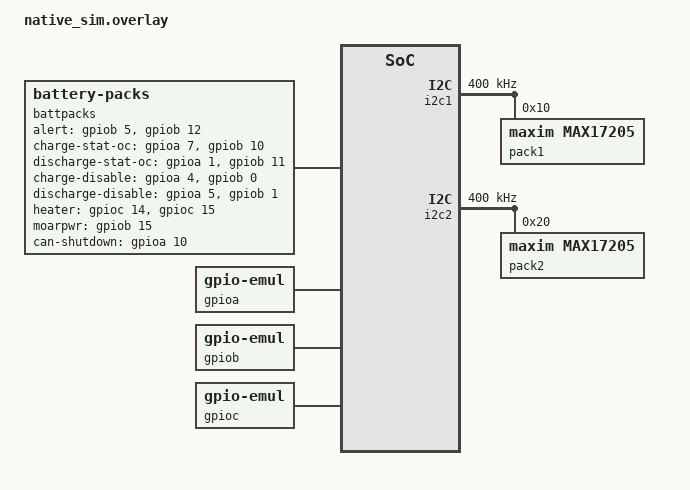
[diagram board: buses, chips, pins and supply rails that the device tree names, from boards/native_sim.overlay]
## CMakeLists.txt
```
# SPDX-License-Identifier: Apache-2.0
cmake_minimum_required(VERSION 3.20.0)

list(APPEND BOARD_ROOT ${CMAKE_CURRENT_SOURCE_DIR})
set(BOARD "oresat_mcxn947_battery_card/mcxn947/cpu0")

set(VERSION_MAJOR "1")
set(VERSION_MINOR "1")
set(PATCHLEVEL "0")
set(VERSION_TWEAK "0")
set(EXTRAVERSION "00000000")

find_package(Git QUIET REQUIRED)

execute_process(
    COMMAND "${GIT_EXECUTABLE}" rev-parse --short HEAD
    WORKING_DIRECTORY "${CMAKE_SOURCE_DIR}"
    RESULT_VARIABLE res
    OUTPUT_VARIABLE EXTRAVERSION
    ERROR_QUIET
    OUTPUT_STRIP_TRAILING_WHITESPACE)

set_property(GLOBAL APPEND
    PROPERTY CMAKE_CONFIGURE_DEPENDS
    "${CMAKE_SOURCE_DIR}/.git/index")

set(BOARD_FLASH_RUNNER "probe-rs")
set(BOARD_DEBUG_RUNNER "probe-rs")

#
# utilize settings to autogenerate a header file to adjust the build inside the C code
#
configure_file (
   "${CMAKE_SOURCE_DIR}/src/VERSION.in"
   "${CMAKE_SOURCE_DIR}/VERSION"
   )

find_package(Zephyr REQUIRED HINTS $ENV{ZEPHYR_BASE})

project(app_battery LANGUAGES C)

#execute_process(COMMAND bash -c "oresat-configs canopennode ${CMAKE_CURRENT_SOURCE_DIR}/od.yaml ${CMAKE_CURRENT_SOURCE_DIR}/../../common/od.yaml -d gen"

include_directories("${PROJECT_SOURCE_DIR}") # needed so c code can find this header

target_sources(app PRIVATE
  src/main.c
  src/batt.c
  src/can.c
  src/calib.c
  src/hist.c
  src/max17205_intf.c
  objdict/CO_OD.c
  drivers/sensor/maxim/max17205/max17205.c
)

target_sources_ifdef(CONFIG_BOARD_ORESAT_MCXN947_BATTERY_CARD app PRIVATE src/can_util.c)
target_sources_ifdef(CONFIG_BOARD_ORESAT_MCXN947_BATTERY_CARD app PRIVATE src/adc.c)

if(CONFIG_ARCH_POSIX)
  target_sources(app PRIVATE
    drivers/sensor/maxim/max17205/max17205_emul.c
)
endif()

zephyr_include_directories(objdict)
```

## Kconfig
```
menu "Zephyr"
source "Kconfig.zephyr"
endmenu

config ACCESS_FLASH_STM32
	default y
	bool
	depends on SOC_STM32F091XC
	select USE_STM32_HAL_FLASH
	select USE_STM32_HAL_FLASH_EX
	select USE_STM32_HAL_CAN

config VERBOSE_DEBUG
	bool "Enables even more debug info than DBG log level"
	help
	  Dump extra verbose information.

config ENABLE_NV_MEMORY_UPDATE_CODE
	bool "Enable writes to MAX17205 NV"
	depends on MAX17205
	help
	  Enable writes to the NV memory. Only 7 total writes can occur ever on
	  a given device.

config ENABLE_LEARN_COMPLETE
	bool "Enable handling end of capacity learning"
	depends on MAX17205
	help
	  Enable detection of 7th learn cycle and termination of charge.
	  Resets capacity to specified maximum for the cells.

config ENABLE_HEATERS
	bool "Enable battery pack heaters"
	depends on MAX17205
	help
	  Enable maintaining temperature of packs between -5C and +5C.
	  Requires boards version 3 or higher due to higher current
	  requirements.

config ENABLE_CHARGING_CONTROL
	bool "Enable charging control"
	depends on MAX17205
	help
	  Enable control of battery charging and discharging based on
	  cell voltage. No longer used but remains just in case.
	  This was disabled per discussion in Slack on April 25, 2021.

config HIST_STORE_PROMPT
	bool "Enable manual control over capacity history"
	depends on MAX17205
	help
	  Enable manual prompting of user whether to erase, store, or
	  ignore capacity history updates. Erasing means removing all
	  stored capacity history -- useful during calibration and
	  preflight prep.

choice EMUL_BATT_PROFILE
	prompt "Emulated battery profile"
	depends on I2C_EMUL
	default EMUL_BATT_OK

config EMUL_BATT_OK
	bool "Set stubbed battery emulator readings to OK profile"
	help
	  Set the readings loaded into the emulated MAX17205
	  registers to values that represent an OK status

config EMUL_BATT_DEAD
	bool "Set stubbed battery emulator readings to dead profile"
	help
	  Set the readings loaded into the emulated MAX17205
	  registers to values that represent a dead status

endchoice

if !SOC_STM32F091XC
	config MCUBOOT_ALLOWED
		bool "MCUboot allowed."
		default y
		select BOOTLOADER_MCUBOOT
		select MCUBOOT_GENERATE_UNSIGNED_IMAGE
		select FLASH
		select FLASH_MAP
		select STREAM_FLASH
		select IMG_MANAGER
		select MCUBOOT_GENERATE_CONFIRMED_IMAGE
		select CANOPENNODE_PROGRAM_DOWNLOAD
		help
		  Define helper symbol CONFIG_MCUBOOT_ALLOWED for all supported
		  architectures that have room for the required partitions in flash
		  and have those partitions defined in the device tree. This
		  eliminates the need for the user to either change prj.conf to
		  enable MCUBOOT or provide an EXTRA_CONF_FILE option to west that
		  names an overlay file.

	config CAN_ID_MUST_BE_SET
		bool "Do not contine if CAN node id not set."
		default y
		help
		  If enabled, do not perform normal functions if CAN node id
		  is not stored in settings.
endif

rsource "drivers/sensor/maxim/max17205/Kconfig"

module = APP_BATTERY
module-str = APP_BATTERY

source "subsys/logging/Kconfig.template.log_config"
```

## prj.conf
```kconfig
CONFIG_REBOOT=y
CONFIG_ASSERT=y
CONFIG_ASSERT_ON_ERRORS=y
CONFIG_EVENTS=y

CONFIG_HWINFO=y
CONFIG_GPIO=y
CONFIG_CONSOLE_SUBSYS=y
CONFIG_SENSOR=y
CONFIG_MAX17205=y

CONFIG_CAN=y
CONFIG_CANOPEN=y
CONFIG_CANOPENNODE=y
CONFIG_CANOPENNODE_SYNC_THREAD=n
CONFIG_CANOPENNODE_SDO_BUFFER_SIZE=889
CONFIG_CAN_DEFAULT_BITRATE=1000000
CONFIG_CAN_MCUX_FLEXCAN_MAX_FILTERS=12

# enable boot loader
CONFIG_MCUBOOT_ALLOWED=y

CONFIG_FCB=y
CONFIG_FLASH=y
CONFIG_FLASH_MAP=y

# changes for settings
CONFIG_SETTINGS=y
CONFIG_SETTINGS_RUNTIME=y
CONFIG_SETTINGS_FCB=y
CONFIG_MPU_ALLOW_FLASH_WRITE=y

CONFIG_BUILD_OUTPUT_HEX=y

CONFIG_ORESAT_COMMON_LIB=y

CONFIG_LOG=y
CONFIG_LOG_MODE_DEFERRED=y
CONFIG_LOG_BUFFER_SIZE=5120
CONFIG_LOG_PRINTK=y
CONFIG_LOG_TAG_MAX_LEN=8
CONFIG_LOG_DEFAULT_LEVEL=3

CONFIG_APP_BATTERY_LOG_LEVEL_INF=y

CONFIG_APPLICATION_INIT_PRIORITY=91

CONFIG_SYSTEM_WORKQUEUE_STACK_SIZE=1024
CONFIG_MAIN_STACK_SIZE=2048
CONFIG_ISR_STACK_SIZE=4096
CONFIG_HEAP_MEM_POOL_SIZE=256

CONFIG_ENABLE_HEATERS=y
```

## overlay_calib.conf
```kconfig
CONFIG_CONSOLE_SUBSYS=y

# Must be INF or DBG to enable NV writes and prompting to allow a write.
CONFIG_APP_BATTERY_LOG_LEVEL_DBG=y

# Print MAX17205 NV registers, capacity history, and flash storage details.
CONFIG_VERBOSE_DEBUG=y

# If CONFIG_VERBOSE_DEBUG also y, allow writing to the MAX17205 NV memory; limited to 7 times
# by MAX17205 hardware.
CONFIG_ENABLE_NV_MEMORY_UPDATE_CODE=y

# If CONFIG_VERBOSE_DEBUG also y, allow check for MAX17205 battery characteristic learning
# level detection. If level == 7, it is complete, so write maximum rated capacity to MIXCAP
# and REPCAP registers, which are the ones our custom history storage in hist.c keep track of.
CONFIG_ENABLE_LEARN_COMPLETE=y

# At the very end of any charge/discharge use prior to launch, set this and
# CONFIG_APP_BATTERY_LOG_LEVEL_DBG=y. The next time the battery thread decides to store the
# capacity history (at 5 minutes of uptime), a prompt will appear on the terminal:
#    ********** Store batt_hist e(rase), t(est), y(es), n(o)? 
# Answer with e to clear out old battery history, then shortly thereafter, shutdown the card
# (the battery must be fully charged). The battery card physical shutdown switches should be
# depressed soon so that battery capacity loss is minimized as much as possible until the launch
# vehicle releases the satellite in orbit. This ensures the learned nominal maximum capacity
# of the batteries is assumed to be the actual capacity as the starting point during normal
# operations in orbit.
CONFIG_HIST_STORE_PROMPT=n
```

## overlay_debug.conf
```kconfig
CONFIG_REBOOT=n
CONFIG_ASSERT=n
CONFIG_DEBUG=y

# deferred logging ensures logging has minimal affect on real-time
# responsiveness, but it consumes a lot of RAM and can easily lose
# log messages when debug logging is enabled
CONFIG_LOG_MODE_DEFERRED=n
CONFIG_LOG_MODE_IMMEDIATE=y

CONFIG_I2C_LOG_LEVEL_INF=y
CONFIG_APP_BATTERY_LOG_LEVEL_DBG=y
CONFIG_SENSOR_LOG_LEVEL_INF=y
CONFIG_KERNEL_LOG_LEVEL_INF=y
CONFIG_CANOPEN_LOG_LEVEL_DBG=y
CONFIG_CAN_LOG_LEVEL_DBG=y

CONFIG_APPLICATION_INIT_PRIORITY=91

CONFIG_THREAD_ANALYZER=y
CONFIG_THREAD_ANALYZER_USE_PRINTK=y
CONFIG_THREAD_ANALYZER_AUTO=y
CONFIG_THREAD_ANALYZER_AUTO_INTERVAL=300

CONFIG_INIT_STACKS=y
CONFIG_STACK_SENTINEL=y
CONFIG_STACK_CANARIES=y
#CONFIG_HW_STACK_PROTECTION=y

CONFIG_TEST_RANDOM_GENERATOR=y

CONFIG_DEBUG_THREAD_INFO=y
CONFIG_THREAD_RUNTIME_STATS=y
CONFIG_DEBUG_OPTIMIZATIONS=y
CONFIG_COVERAGE=n

#CONFIG_DEBUG_COREDUMP=y
#CONFIG_DEBUG_COREDUMP_BACKEND_LOGGING=y
#CONFIG_DEBUG_COREDUMP_LOG_LEVEL_DBG=y
#CONFIG_DEBUG_COREDUMP_MEMORY_DUMP_THREADS=y
CONFIG_FAULT_DUMP=1
```

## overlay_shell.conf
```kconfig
# This is a special configuration to allow the shell to run in the serial terminal
# interface. It allows setting the CAN nodeid, for example.
# Build instructions:
#   west build -p -- -DEXTRA_CONF_FILE=overlay_shell.conf

CONFIG_LOG_MODE_DEFERRED=y
CONFIG_LOG_MODE_IMMEDIATE=n
CONFIG_LOG_BUFFER_SIZE=20480

CONFIG_SHELL=y
CONFIG_SHELL_LOG_BACKEND=y
CONFIG_SHELL_GETOPT=y
CONFIG_POSIX_C_LIB_EXT=y

# enable this to add i2c interface scanning, for example
CONFIG_I2C_SHELL=y
```

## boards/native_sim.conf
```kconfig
CONFIG_FLASH_PAGE_LAYOUT=y
CONFIG_FLASH_MAP=y
CONFIG_NVS=y
CONFIG_EMUL=y
CONFIG_I2C_EMUL=y
CONFIG_ADC_STM32=n
CONFIG_SOC_FLASH_STM32=n
CONFIG_STM32_TEMP=n
```

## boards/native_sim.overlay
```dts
/ {
    chosen {
        zephyr,canbus = &can0;
        zephyr,flash = &flash0;
    };

    battpacks: oresat_battery_packs {
        compatible = "battery-packs";
        #gpio-cells = <2>;
        alert-gpios = <&gpiob 5 0>, <&gpiob 12 0>;
        charge-stat-oc-gpios = <&gpioa 7 0>, <&gpiob 10 0>;
        discharge-stat-oc-gpios = <&gpioa 1 0>, <&gpiob 11 0>;
        charge-disable-gpios = <&gpioa 4 GPIO_ACTIVE_HIGH>, <&gpiob 0 GPIO_ACTIVE_HIGH>;
        discharge-disable-gpios = <&gpioa 5 GPIO_ACTIVE_HIGH>, <&gpiob 1 GPIO_ACTIVE_HIGH>;
        heater-gpios = <&gpioc 14 GPIO_ACTIVE_HIGH>, <&gpioc 15 GPIO_ACTIVE_HIGH>;
        moarpwr-gpios = <&gpiob 15 GPIO_ACTIVE_HIGH>;
        can-shutdown-gpios = <&gpioa 10 GPIO_ACTIVE_HIGH>;
        can-silent-gpios = <&gpioa 9 GPIO_ACTIVE_HIGH>;
    };

    can0: can {
        compatible = "zephyr,native-linux-can";
        status = "okay";
        host-interface = "vcan0";
    };

    gpioa: gpioa {
        compatible = "zephyr,gpio-emul";
        gpio-controller;
        #gpio-cells = <2>;
        status = "okay";
    };

    gpiob: gpiob {
        compatible = "zephyr,gpio-emul";
        gpio-controller;
        #gpio-cells = <2>;
        status = "okay";
    };

    gpioc: gpioc {
        compatible = "zephyr,gpio-emul";
        gpio-controller;
        #gpio-cells = <2>;
        status = "okay";
    };

    i2c1: i2c@500 {
        compatible = "zephyr,i2c-emul-controller";
        status = "okay";
        clock-frequency = <I2C_BITRATE_FAST>;
        #address-cells = <1>;
        #size-cells = <0>;
        reg = <0x500 4>;

        pack1: max17205@10 {
            // INFO: the actual i2c addr for the max17205 should be 0x36,
            // but the emulator doesn't like multiple devices with
            // the same addr - even on different busses
            compatible = "maxim,max17205";
            reg = <0x10>;
            aux-addr = <0x10>; // actual aux-addr: 0x0b
            num-cells = <2>;
            cell-bal-thresh-voltage = <40>;
            pack-flags = <0x3e00>;
            rsense-mohms = <10>;
            config = <0x0211>;
            status = "okay";
        };
    };

    i2c2: i2c@600 {
        compatible = "zephyr,i2c-emul-controller";
        status = "okay";
        clock-frequency = <I2C_BITRATE_FAST>;
        #address-cells = <1>;
        #size-cells = <0>;
        reg = <0x600 4>;

        pack2: max17205@20 {
            compatible = "maxim,max17205";
            reg = <0x20>;
            aux-addr = <0x20>;
            num-cells = <2>;
            cell-bal-thresh-voltage = <40>;
            pack-flags = <0x3e00>;
            rsense-mohms = <10>;
            config = <0x0211>;
            status = "okay";
        };
    };
};

&flash0 {
    partitions {
        hist_partition: partition@100000 {
            label = "hist";
            reg = <0x00100000 DT_SIZE_K(8)>;
        };
    };
};
```

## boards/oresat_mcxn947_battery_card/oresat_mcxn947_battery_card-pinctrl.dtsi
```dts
/*
 * Copyright 2024 NXP
 * SPDX-License-Identifier: Apache-2.0
 */


#include <nxp/mcx/MCXN947VNL-pinctrl.h>

&pinctrl {
	pinmux_flexcomm0_lpi2c: pinmux_flexcomm0_lpi2c {
		group0 {
			pinmux = <FC0_P0_PIO0_16>,
				<FC0_P1_PIO0_17>;
			slew-rate = "fast";
			drive-strength = "low";
			input-enable;
			bias-pull-up;
			drive-open-drain;
		};
	};

	pinmux_flexcomm3_lpi2c: pinmux_flexcomm3_lpi2c {
		group0 {
			pinmux = <FC3_P0_PIO1_0>,
				<FC3_P1_PIO1_1>;
			slew-rate = "fast";
			drive-strength = "low";
			input-enable;
			bias-pull-up;
			drive-open-drain;
		};
	};

	pinmux_flexcomm4_lpuart: pinmux_flexcomm4_lpuart {
		group0 {
			pinmux = <FC4_P0_PIO1_8>,
				<FC4_P1_PIO1_9>;
			slew-rate = "fast";
			bias-pull-up;
			drive-strength = "low";
			input-enable;
		};
	};

	pinmux_flexcan0: pinmux_flexcan0 {
		group0 {
			pinmux = <CAN0_TXD_PIO1_10>,
				<CAN0_RXD_PIO1_11>;
			slew-rate = "fast";
			drive-strength = "low";
			input-enable;
		};
	};

	pinmux_sctimer: pinmux_sctimer {
		group0 {
			pinmux = <SCT0_OUT0_PIO2_2>;
			slew-rate = "fast";
			drive-strength = "low";
			input-enable;
		};
	};

/* 411_IOUT */
	pinmux_lpadc0_0: pinmux_lpadc0_0 {
			pinmux = <ADC1_B6_PIO4_21>;
			slew-rate = "fast";
			drive-strength = "low";
	};

/* Imon, Pack 1 */
	pinmux_lpadc0_1: pinmux_lpadc0_1 {
			pinmux = <ADC1_B10_PIO5_2>;
			slew-rate = "fast";
			drive-strength = "low";
	};

/* Imon, Pack 2 */
	pinmux_lpadc0_2: pinmux_lpadc0_2 {
			pinmux = <ADC1_B11_PIO5_3>;
			slew-rate = "fast";
			drive-strength = "low";
	};

};
```

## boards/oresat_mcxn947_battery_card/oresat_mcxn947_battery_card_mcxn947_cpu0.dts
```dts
/dts-v1/;

#include "oresat_mcxn947_battery_card_mcxn947_cpu0.dtsi"
#include "oresat_mcxn947_battery_card-pinctrl.dtsi"

/ {
	model = "NXP MCXN947 battery card";
	compatible = "nxp,mcxn947", "nxp,mcx";
};
```

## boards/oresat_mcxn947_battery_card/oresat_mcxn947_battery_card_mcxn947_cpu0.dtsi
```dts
/*
 * Copyright 2024 NXP
 *
 * SPDX-License-Identifier: Apache-2.0
 */

/* Common dts file to enable supported features for CPU 0.
 * This file is included by both the default variant
 * which is run from internal flash and the QSPI variant.
 */
/dts-v1/;

#include <nxp/mcx/nxp_mcxn94x.dtsi>
#include <zephyr/dt-bindings/i2c/i2c.h>
#include <zephyr/dt-bindings/gpio/gpio.h>
#include <zephyr/dt-bindings/adc/adc.h>
#include <zephyr/dt-bindings/adc/mcux-lpadc.h>
#include <zephyr/dt-bindings/gpio/nxp-kinetis-gpio.h>

/ {
	cpus {
		/delete-node/ cpu@1;
	};

	oresat_demo: oresat-demo-enabled {}; /* Enable demos for supported boards */

	chosen {
		zephyr,sram = &sram0;
		zephyr,flash = &flash;
		zephyr,flash-controller = &fmu;
		zephyr,code-partition = &slot0_partition;
		zephyr,uart-mcumgr = &flexcomm4_lpuart4;
		zephyr,console = &flexcomm4_lpuart4;
		zephyr,shell-uart = &flexcomm4_lpuart4;
		zephyr,canbus = &flexcan0;
		zephyr,code-cpu1-partition = &slot1_partition;
	};

	aliases{
		led0 = &red_led;
		watchdog0 = &wwdt0;
		rtc = &rtc;
   	flash0 = &flash;
   	i2c1 = &flexcomm0_lpi2c0;
   	i2c2 = &flexcomm3_lpi2c3;
		adc0 = &lpadc0;
	};

	leds {
		compatible = "gpio-leds";
		red_led: led_1 {
			gpios = <&gpio1 13 GPIO_ACTIVE_LOW>;
			label = "Red LED";
			status = "okay";
		};
	};

	battpacks: oresat_battery_packs {
		compatible = "battery-packs";
		#gpio-cells = <2>;
		alert-gpios = <&gpio4 0 0>, <&gpio4 6 0>;
		charge-stat-oc-gpios = <&gpio4 1 0>, <&gpio4 7 0>;  /* Needs pull up */
		discharge-stat-oc-gpios = <&gpio4 2 0>, <&gpio4 12 0>; /* Needs pull up */
		charge-disable-gpios = <&gpio4 3 GPIO_ACTIVE_HIGH>, <&gpio4 13 GPIO_ACTIVE_HIGH>;
		discharge-disable-gpios = <&gpio4 4 GPIO_ACTIVE_HIGH>, <&gpio4 15 GPIO_ACTIVE_HIGH>;
		heater-gpios = <&gpio4 5 GPIO_ACTIVE_HIGH>, <&gpio4 16 GPIO_ACTIVE_HIGH>;
		moarpwr-gpios = <&gpio4 17 GPIO_ACTIVE_HIGH>;
		hw-rev-bit-0-gpios = <&gpio0 21 0>; /* in -- enable pull up in init code */
		hw-rev-bit-1-gpios = <&gpio0 22 0>; /* in -- enable pull up in init code */
		hw-rev-bit-2-gpios = <&gpio0 23 0>; /* in -- enable pull up in init code */
		can-fault-gpios = <&gpio1 12 0>;
		can-silent-gpios = <&gpio1 14 GPIO_ACTIVE_HIGH>;
	};
};

&flexcomm0 {
	status = "okay";
};

&flexcomm0_lpi2c0 {
	pinctrl-0 = <&pinmux_flexcomm0_lpi2c>;
	pinctrl-names = "default";
	clock-frequency = <I2C_BITRATE_FAST>;
	status = "okay";

	pack1: max17205@36 {
		compatible = "maxim,max17205";
		reg = <0x36>;
		/* NOTE: this device has two I2C slave addresses. They are used to access
		 * different sets of register addresses. Ensure your system does not place
		 * another device on the I2C bus which responds to the below aux-addr.
		 */
		aux-addr = <0x0b>;
		num-cells = <2>;
		cell-bal-thresh-voltage = <40>;
		pack-flags = <0x3e00>;
		rsense-mohms = <10>;
		config = <0x0211>;
		status = "okay";
	};
};

&flexcomm3 {
	status = "okay";
};

&flexcomm3_lpi2c3 {
	pinctrl-0 = <&pinmux_flexcomm3_lpi2c>;
	pinctrl-names = "default";
	clock-frequency = <I2C_BITRATE_FAST>;
	status = "okay";

	pack2: max17205@36 {
		compatible = "maxim,max17205";
		reg = <0x36>;
		/* NOTE: this device has two I2C slave addresses. They are used to access
		 * different sets of register addresses. Ensure your system does not place
		 * another device on the I2C bus which responds to the below aux-addr.
		 */
		aux-addr = <0x0b>;
		num-cells = <2>;
		cell-bal-thresh-voltage = <40>;
		pack-flags = <0x3e00>;
		rsense-mohms = <10>;
		config = <0x0211>;
		status = "okay";
	};
};

&flexcomm4 {
	status = "okay";
};

&flexcomm4_lpuart4 {
	current-speed = <115200>;
	pinctrl-0 = <&pinmux_flexcomm4_lpuart>;
	pinctrl-names = "default";
	status = "okay";
};

&flexcan0 {
	pinctrl-0 = <&pinmux_flexcan0>;
	pinctrl-names = "default";
	status = "okay";
};

&lpadc0 {
	pinctrl-0 = <&pinmux_lpadc0_0>;
	pinctrl-names = "default";

	#address-cells = <1>;
	#size-cells = <0>;
	status = "okay";

	voltage-ref = < 0x0 >;
   power-level = < 0x01 >;

	lpadc0_0: channel@0 { /* 411_IOUT */
		reg = <0>;
		zephyr,gain = "ADC_GAIN_1";
		zephyr,reference = "ADC_REF_EXTERNAL0";
		zephyr,vref-mv = <3300>;
		zephyr,acquisition-time = <ADC_ACQ_TIME(ADC_ACQ_TIME_MICROSECONDS,2)>;
		zephyr,resolution = <16>;
		zephyr,oversampling = <7>;
		zephyr,input-positive = <MCUX_LPADC_CH0A>;
		/delete-property/ zephyr,differential;
	};
	lpadc0_1: channel@1 { /* Imon Pack 1 */
		reg = <1>;
		zephyr,gain = "ADC_GAIN_1";
		zephyr,reference = "ADC_REF_EXTERNAL0";
		zephyr,vref-mv = <3300>;
		zephyr,acquisition-time = <ADC_ACQ_TIME(ADC_ACQ_TIME_MICROSECONDS,2)>;
		zephyr,resolution = <16>;
		zephyr,oversampling = <7>;
		zephyr,input-positive = <MCUX_LPADC_CH0A>;
		/delete-property/ zephyr,differential;
	};
	lpadc0_2: channel@2 { /* Imon Pack 2 */
		reg = <2>;
		zephyr,gain = "ADC_GAIN_1";
		zephyr,reference = "ADC_REF_EXTERNAL0";
		zephyr,vref-mv = <3300>;
		zephyr,acquisition-time = <ADC_ACQ_TIME(ADC_ACQ_TIME_MICROSECONDS,2)>;
		zephyr,resolution = <16>;
		zephyr,oversampling = <7>;
		zephyr,input-positive = <MCUX_LPADC_CH0A>;
		/delete-property/ zephyr,differential;
	};
};

/*
 * Default for this board is to allocate SRAM0-5 to cpu0 but the
 * application can have an application specific device tree to
 * allocate the SRAM0-7 differently.
 *
 * For example, SRAM0-6 could be allocated to cpu0 with only SRAM7
 * for cpu1. This would require the value of sram0 to have a DT_SIZE_K
 * of 384. You would have to make updates to cpu1 sram settings as well.
 */
&sram0 {
	compatible = "mmio-sram";
	reg = <0x20000000 DT_SIZE_K(320)>;
};

&sram {
	sramg: memory@20050000 {
		compatible = "mmio-sram";
		reg = <0x20050000 DT_SIZE_K(64)>;
	};
	sramh: memory@20060000 {
		compatible = "mmio-sram";
		reg = <0x20060000 DT_SIZE_K(32)>;
	};
};

&flash {
	partitions {
		compatible = "fixed-partitions";
		#address-cells = <1>;
		#size-cells = <1>;

		/*
		 * Partition sizes must be aligned
		 * to the flash memory sector size of 8KB.
		 */
		boot_partition: partition@0 {
			label = "mcuboot";
			reg = <0x00000000 DT_SIZE_K(80)>;
		};
		slot0_partition: partition@14000 {
			label = "image-0";
			reg = <0x00014000 DT_SIZE_K(960)>;
		};
		slot1_partition: partition@108000 {
			label = "image-1";
			reg = <0x00108000 DT_SIZE_K(960)>;
		};
		/* Set 8Kb of storage just before storage_partition defined below */
		hist_partition: partition@1f8000 {
			label = "hist";
			reg = <0x001f8000 DT_SIZE_K(16)>;
		};
		storage_partition: partition@1fc000 {
			label = "storage";
			reg = <0x001fc000 DT_SIZE_K(16)>;
		};
	};
};

&mbox {
	status = "okay";
};

&gpio4 {
	status = "okay";
};

&gpio1 {
	status = "okay";
};

&gpio0 {
	status = "okay";
};

&gpio2 {
	status = "okay";
};

&edma0 {
	status = "okay";
};

&wwdt0 {
	status = "okay";
};

&systick {
	status = "okay";
};

&ctimer0 {
	status = "okay";
};

&vref {
	status = "okay";
};

&lptmr0 {
	status = "okay";
};

&flexio0 {
	status = "okay";
};

&mrt0_channel0 {
	status = "okay";
};

&rtc {
	status = "okay";
};

&sc_timer {
	pinctrl-0 = <&pinmux_sctimer>;
	pinctrl-names = "default";
	status = "okay";
};

&enet {
	status = "disabled";
};
```

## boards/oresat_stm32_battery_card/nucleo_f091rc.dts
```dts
/*
 * Copyright (c) 2017 Bobby Noelte
 *
 * SPDX-License-Identifier: Apache-2.0
 */

/dts-v1/;
#include <st/f0/stm32f091Xc.dtsi>
#include <st/f0/stm32f091r(b-c)tx-pinctrl.dtsi>
/* #include "arduino_r3_connector.dtsi" */
/* #include "st_morpho_connector.dtsi" */
#include <zephyr/dt-bindings/input/input-event-codes.h>

/ {
	model = "Oresat battery card";
	compatible = "st,stm32f091rc-nucleo";

	chosen {
		zephyr,console = &usart2;
		zephyr,shell-uart = &usart2;
		zephyr,sram = &sram0;
		zephyr,flash = &flash0;
		zephyr,canbus = &can1;
	};

	leds: leds {
		compatible = "gpio-leds";

		amber_led_1: led_1 {
			gpios = <&gpioa 0 GPIO_ACTIVE_HIGH>;
			label = "Heartbeat LED";
			status = "okay";
		};
	};

	gpio_keys {
		compatible = "gpio-keys";

		user_button: button {
			label = "User";
			gpios = <&gpioc 13 GPIO_ACTIVE_LOW>;
			zephyr,code = <INPUT_KEY_0>;
			status = "disabled";
		};
	};

	pwmleds: pwmleds {
		compatible = "pwm-leds";
		status = "disabled";

		amber_pwm_led: amber_pwm_led {
			pwms = <&pwm2 1 PWM_MSEC(20) PWM_POLARITY_NORMAL>;
		};
	};

   packs: oresat_battery_packs {
   	compatible = "oresat,battery-packs";

   	alert_gpios = <&gpiob 5 0>, <&gpiob 12 0>;
   	charge_stat_oc_gpios = <&gpioa 7 0>, <&gpiob 10 0>;
   	discharge_stat_oc_gpios = <&gpioa 1 0>, <&gpiob 11 0>;
   	charge_disable_gpios = <&gpioa 4 GPIO_ACTIVE_HIGH>, <&gpiob 0 GPIO_ACTIVE_HIGH>;
   	discharge_disable_gpios = <&gpioa 5 GPIO_ACTIVE_HIGH>, <&gpiob 1 GPIO_ACTIVE_HIGH>;
   	heater_gpios = <&gpioc 14 GPIO_ACTIVE_HIGH>, <&gpioc 15 GPIO_ACTIVE_HIGH>;
   	moarpwr_gpios = <&gpiob 15 GPIO_ACTIVE_HIGH>;
	};

	aliases {
		led0 = &amber_led_1;
		sw0 = &user_button;
		pwm-led0 = &amber_pwm_led;
		watchdog0 = &iwdg;
		die-temp0 = &die_temp;
		volt-sensor0 = &vref;
		volt-sensor1 = &vbat;
	};
};

&clk_hse {
	hse-bypass;
	clock-frequency = <DT_FREQ_M(8)>; /* STLink 8MHz clock */
	status = "okay";
};

&clk_lsi {
	status = "okay";
};

&pll {
	prediv = <1>;
	mul = <6>;
	clocks = <&clk_hse>;
	status = "okay";
};

&rcc {
	clocks = <&pll>;
	clock-frequency = <DT_FREQ_M(48)>;
	ahb-prescaler = <1>;
	apb1-prescaler = <1>;
};

&usart1 {
	pinctrl-0 = <&usart1_tx_pb6 &usart1_rx_pb7>;
	pinctrl-names = "default";
	current-speed = <115200>;
   status = "disabled";
};

&usart2 {
	pinctrl-0 = <&usart2_tx_pa2 &usart2_rx_pa3>;
	pinctrl-names = "default";
	current-speed = <115200>;
	status = "okay";
};

&i2c1 {
	pinctrl-0 = <&i2c1_scl_pb6 &i2c1_sda_pb7>;
	pinctrl-names = "default";
	status = "okay";
	clock-frequency = <I2C_BITRATE_FAST>;
};

&i2c2 {
	/* Pin conflict with can1. Enable only with can1 disabled. */
	pinctrl-0 = <&i2c2_scl_pb13 &i2c2_sda_pb14>;
	pinctrl-names = "default";
	status = "okay";
	clock-frequency = <I2C_BITRATE_FAST>;
};

&can1 {
	pinctrl-0 = <&can_rx_pa11 &can_tx_pa12>;
	pinctrl-names = "default";
	status = "okay";
};

&spi1 {
	pinctrl-0 = <&spi1_sck_pa5 &spi1_miso_pa6 &spi1_mosi_pa7>;
	pinctrl-names = "default";
	status = "disabled";
};

&spi2 {
	pinctrl-0 = <&spi2_sck_pb13 &spi2_miso_pb14 &spi2_mosi_pb15>;
	pinctrl-names = "default";
	status = "disabled";
};

&iwdg {
	status = "okay";
};

&rtc {
	clocks = <&rcc STM32_CLOCK_BUS_APB1 0x10000000>,
		 <&rcc STM32_SRC_LSI RTC_SEL(2)>;
	status = "okay";
};

&flash0 {
	partitions {
		compatible = "fixed-partitions";
		#address-cells = <1>;
		#size-cells = <1>;

		/* Set 6Kb of storage at the end of the 256Kb of flash */
		storage_partition: partition@3e800 {
			label = "storage";
			reg = <0x0003e800 DT_SIZE_K(6)>;
		};
	};
};

&adc1 {
	pinctrl-0 = <&adc_in0_pa6>; /* currently routed to pa8, which is not ADC-capable */
	pinctrl-names = "default";
	st,adc-clock-source = "SYNC";
	st,adc-prescaler = <2>;
	status = "disabled"; /* disable for now */
};

&die_temp {
	status = "okay";
};

&dac1 {
	status = "disabled";
	pinctrl-0 = <&dac_out1_pa4>;
	pinctrl-names = "default";
};

&dma1 {
	status = "okay";
};

&timers2 {
	st,prescaler = <10000>;
	status = "disabled";

	pwm2: pwm {
		/* NOTE: disabled by default, PWM2 conflicts with SPI1 */
		pinctrl-0 = <&tim2_ch1_pa0>;
		pinctrl-names = "default";
		status = "disabled";
	};
};

&vref {
	status = "okay";
};

&vbat {
	status = "okay";
};
```

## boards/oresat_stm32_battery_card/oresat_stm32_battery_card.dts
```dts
/*
 * Copyright (c) 2017 Bobby Noelte
 *
 * SPDX-License-Identifier: Apache-2.0
 */

/dts-v1/;
#include <st/f0/stm32f091Xc.dtsi>
#include <st/f0/stm32f091r(b-c)tx-pinctrl.dtsi>
#include <zephyr/dt-bindings/gpio/gpio.h>
#include <zephyr/dt-bindings/input/input-event-codes.h>

/ {
	model = "Oresat battery card";
	compatible = "st,stm32f091rc-nucleo";

	chosen {
		zephyr,console = &usart2;
		zephyr,shell-uart = &usart2;
		zephyr,sram = &sram0;
		zephyr,flash = &flash0;
		zephyr,canbus = &can1;
	};

	leds: leds {
		compatible = "gpio-leds";

		amber_led_1: led_1 {
			gpios = <&gpioa 0 GPIO_ACTIVE_HIGH>;
			label = "Heartbeat LED";
			status = "okay";
		};
	};

	gpio_keys {
		compatible = "gpio-keys";

		user_button: button {
			label = "User";
			gpios = <&gpioc 13 GPIO_ACTIVE_LOW>;
			zephyr,code = <INPUT_KEY_0>;
			status = "disabled";
		};
	};

	pwmleds: pwmleds {
		compatible = "pwm-leds";
		status = "disabled";

		amber_pwm_led: amber_pwm_led {
			pwms = <&pwm2 1 PWM_MSEC(20) PWM_POLARITY_NORMAL>;
		};
	};

	battpacks: oresat_battery_packs {
		compatible = "battery-packs";
		#gpio-cells = <2>;
		alert-gpios = <&gpiob 5 0>, <&gpiob 12 0>;
		charge-stat-oc-gpios = <&gpioa 7 0>, <&gpiob 10 0>;
		discharge-stat-oc-gpios = <&gpioa 1 0>, <&gpiob 11 0>;
		charge-disable-gpios = <&gpioa 4 GPIO_ACTIVE_HIGH>, <&gpiob 0 GPIO_ACTIVE_HIGH>;
		discharge-disable-gpios = <&gpioa 5 GPIO_ACTIVE_HIGH>, <&gpiob 1 GPIO_ACTIVE_HIGH>;
		heater-gpios = <&gpioc 14 GPIO_ACTIVE_HIGH>, <&gpioc 15 GPIO_ACTIVE_HIGH>;
		moarpwr-gpios = <&gpiob 15 GPIO_ACTIVE_HIGH>;
		can-shutdown-gpios = <&gpioa 10 GPIO_ACTIVE_HIGH>;
		can-silent-gpios = <&gpioa 9 GPIO_ACTIVE_HIGH>;
	};

	aliases {
		led0 = &amber_led_1;
		sw0 = &user_button;
		pwm-led0 = &amber_pwm_led;
		watchdog0 = &iwdg;
		die-temp0 = &die_temp;
		volt-sensor0 = &vref;
		volt-sensor1 = &vbat;
		flash0 = &flash0;
		i2c1 = &i2c1;
		i2c2 = &i2c2;
	};
};

&clk_hse {
		 /delete-property/ hse-bypass;
		 clock-frequency = <DT_FREQ_M(16)>; // ERS board 16MHz crystal
		 status = "okay";
};

&clk_lsi {
		 status = "okay";
};

&pll {
		 prediv = <1>;
		 mul = <3>;
		 clocks = <&clk_hse>;
		 status = "okay";
};

&rcc {
		 clocks = <&pll>;
		 clock-frequency = <DT_FREQ_M(48)>;
		 ahb-prescaler = <1>;
		 apb1-prescaler = <1>;
		 status = "okay";
};

&usart1 {
	pinctrl-0 = <&usart1_tx_pb6 &usart1_rx_pb7>;
	pinctrl-names = "default";
	current-speed = <115200>;
	status = "disabled";
};

&usart2 {
	pinctrl-0 = <&usart2_tx_pa2 &usart2_rx_pa3>;
	pinctrl-names = "default";
	current-speed = <115200>;
	status = "okay";
};

&i2c1 {
	pinctrl-0 = <&i2c1_scl_pb6 &i2c1_sda_pb7>;
	pinctrl-names = "default";
	status = "okay";
	clock-frequency = <I2C_BITRATE_FAST>;
	scl-gpios =  <&gpiob 6 (GPIO_OPEN_DRAIN | GPIO_PULL_UP)>;
	sda-gpios = <&gpiob 7 (GPIO_OPEN_DRAIN | GPIO_PULL_UP)>;

	pack1: max17205@36 {
		compatible = "maxim,max17205";
		reg = <0x36>;
		/* NOTE: this device has two I2C slave addresses. They are used to access
		 * different sets of register addresses. Ensure your system does not place
		 * another device on the I2C bus which responds to the below aux-addr.
		 */
		aux-addr = <0x0b>;
		num-cells = <2>;
		cell-bal-thresh-voltage = <40>;
		pack-flags = <0x3e00>;
		rsense-mohms = <10>;
		config = <0x0211>;
		status = "okay";
	};
};

&i2c2 {
	/* Pin conflict with can1. Enable only with can1 disabled. */
	pinctrl-0 = <&i2c2_scl_pb13 &i2c2_sda_pb14>;
	pinctrl-names = "default";
	status = "okay";
	clock-frequency = <I2C_BITRATE_FAST>;
	scl-gpios = <&gpiob 13 (GPIO_OPEN_DRAIN | GPIO_PULL_UP)>;
	sda-gpios = <&gpiob 14 (GPIO_OPEN_DRAIN | GPIO_PULL_UP)>;

	pack2: max17205@36 {
		compatible = "maxim,max17205";
		reg = <0x36>;
		/* NOTE: this device has two I2C slave addresses. They are used to access
		 * different sets of register addresses. Ensure your system does not place
		 * another device on the I2C bus which responds to the below aux-addr.
		 */
		aux-addr = <0x0b>;
		num-cells = <2>;
		cell-bal-thresh-voltage = <40>;
		pack-flags = <0x3e00>;
		rsense-mohms = <10>;
		config = <0x0211>;
		status = "okay";
	};
};


&can1 {
	pinctrl-0 = <&can_rx_pa11 &can_tx_pa12>;
	pinctrl-names = "default";
	status = "okay";
};

&spi1 {
	pinctrl-0 = <&spi1_sck_pa5 &spi1_miso_pa6 &spi1_mosi_pa7>;
	pinctrl-names = "default";
	status = "disabled";
};

&spi2 {
	pinctrl-0 = <&spi2_sck_pb13 &spi2_miso_pb14 &spi2_mosi_pb15>;
	pinctrl-names = "default";
	status = "disabled";
};

&iwdg {
	status = "okay";
};

&rtc {
	clocks = <&rcc STM32_CLOCK_BUS_APB1 0x10000000>,
		 <&rcc STM32_SRC_LSI RTC_SEL(2)>;
	status = "okay";
};

&flash0 {
	partitions {
		compatible = "fixed-partitions";
		#address-cells = <1>;
		#size-cells = <1>;

		/* Set 8Kb of storage just before storage_partition defined below */
		hist_partition: partition@3a000 {
			label = "hist";
			reg = <0x0003a000 DT_SIZE_K(8)>;
		};
		/* Set 16Kb of storage at the end of the 256Kb of flash */
		storage_partition: partition@3c000 {
			label = "storage";
			reg = <0x0003c000 DT_SIZE_K(16)>;
		};
	};
};

&adc1 {
	//pinctrl-0 = <&adc_in6_pa6>; /* currently routed to pa8, which is not ADC-capable */
	//pinctrl-names = "default";
	st,adc-clock-source = "SYNC";
	st,adc-prescaler = <2>;
	status = "okay"; /* disable for now */
};

&die_temp {
	status = "okay";
};

&dac1 {
	status = "disabled";
	pinctrl-0 = <&dac_out1_pa4>;
	pinctrl-names = "default";
};

&dma1 {
	status = "okay";
};

&timers2 {
	st,prescaler = <10000>;
	status = "disabled";

	pwm2: pwm {
		/* NOTE: disabled by default, PWM2 conflicts with SPI1 */
		pinctrl-0 = <&tim2_ch1_pa0>;
		pinctrl-names = "default";
		status = "disabled";
	};
};

&vref {
	status = "okay";
};

&vbat {
	status = "okay";
};
```

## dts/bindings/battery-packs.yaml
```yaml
# Oresat battery pack

description: Oresat battery packs device

compatible: "battery-packs"

properties:
  "#gpio-cells":
    type: int
    required: true
    description: Number of items to expect in a GPIO specifier

  alert-gpios:
    type: phandle-array
    required: true
    description: |
      Alert inputs. Number of entries for this and the other gpios
      should match number of packs.

  charge-stat-oc-gpios:
    type: phandle-array
    description: |
      Charge status inputs

  discharge-stat-oc-gpios:
    type: phandle-array
    description: |
      Disharge status inputs

  charge-disable-gpios:
    type: phandle-array
    description: |
      Charge disable outputs

  discharge-disable-gpios:
    type: phandle-array
    description: |
      Discharge disable outputs

  heater-gpios:
    type: phandle-array
    description: |
      Battery pack heater enable outputs

  moarpwr-gpios:
    type: phandle-array
    description: |
      Single output to request more power allowance so we can
      enable heaters.

  hw-rev-bit-0-gpios:
    type: phandle-array
    description: GPIO input or output.

  hw-rev-bit-1-gpios:
    type: phandle-array
    description: GPIO input or output.

  hw-rev-bit-2-gpios:
    type: phandle-array
    description: GPIO input or output.

  can-shutdown-gpios:
    type: phandle-array
    description: |
      Single output, active high, to shutdown CAN. This is the
      lowest power mode.

  can-silent-gpios:
    type: phandle-array
    description: |
      Single output, active high, to turn off TX (receive only).

  can-fault-gpios:
    type: phandle-array
    description: |
      Single input

include: [base.yaml]
```

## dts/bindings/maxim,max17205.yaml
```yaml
#
# Copyright 2020 Google LLC
#
# SPDX-License-Identifier: Apache-2.0
#

description: Maxim MAX17205 Fuel Gauge

compatible: "maxim,max17205"

include: [sensor-device.yaml, i2c-device.yaml]

properties:
  aux-addr:
    type: int
    required: true
    description: |
      Auxiliary I2C address for remainder of register map.

  num-cells:
    type: int
    required: true
    description: |
      Number of cells in this pack.

  cell-bal-thresh-voltage:
    type: int
    required: true
    description: |
      Cell balance threshold in mV.

  pack-flags:
    type: int
    required: true
    description: |
      Pack configuration flags for the MAX17205_AD_NPACKCFG register, not
      including the number of cells.

  rsense-mohms:
    type: int
    required: true
    description: |
      Value of Rsense resistor in milliohms (e.g. 5). It cannot be 0.

  config:
    type: int
    required: true
    description: |
      MAX17205_AD_CONFIG register value.
```

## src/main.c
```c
#include <zephyr/kernel.h>
#include <zephyr/fatal.h>
#include <zephyr/sys/reboot.h>
#include <zephyr/drivers/hwinfo.h>
#include <zephyr/logging/log.h>
#include <zephyr/logging/log_ctrl.h>
#include <board_sensors.h>
#include <version.h>
#include <app_version.h>

#include "diag.h"

LOG_MODULE_REGISTER(app_battery, CONFIG_APP_BATTERY_LOG_LEVEL);

void k_sys_fatal_error_handler(unsigned int reason, const struct arch_esf *esf)
{
	LOG_ERR("Unrecoverable error 0x%x: rebooting!", reason);
	LOG_PANIC(); // attempt to flush the logs

#if defined(CONFIG_REBOOT)
	sys_reboot(SYS_REBOOT_COLD);
#endif
}

/** Dump Hardware Info
 *    Show the unique processor id and the reason for reset.
 *
 *    This requires:
 *    #include <zephyr/drivers/hwinfo.h>
 *    prj.conf:
 *    CONFIG_HWINFO=y
 *    Names of reset cause bits defined in same header; e.g.
 *    RESET_POR
 **/
static void dump_hwinfo(void)
{
	uint8_t hwid[32] = {0};
	uint32_t reset_cause;
	int reset_cause_ret;
	int hwid_len;

	hwid_len = hwinfo_get_device_id(hwid,sizeof(hwid)); // returns size of the device id
	reset_cause_ret = hwinfo_get_reset_cause(&reset_cause);
	if (!reset_cause_ret) {
		hwinfo_clear_reset_cause();
	}

	if (hwid_len < 0) {
		LOG_ERR("    Chip     HWID: UNNKOWN (%d", hwid_len);
	} else {
		LOG_HEXDUMP_INF(hwid, hwid_len, "    Chip     HWID: ");
	}
	if (reset_cause_ret < 0) {
		LOG_ERR("      Reset Cause: UNKNOWN (%d)", reset_cause_ret);
	} else {
		LOG_INF("      Reset Cause: 0x%08x", reset_cause);
	}
}

int main(void)
{
	LOG_INF("Oresat app battery starting up");
	LOG_INF("   Oresat   Board: %s", CONFIG_BOARD_TARGET);
	dump_hwinfo();
	LOG_INF("   App    Version: %s", APP_VERSION_STRING);
	LOG_INF("   Zephyr Version: %s", KERNEL_VERSION_STRING);

	LOG_DBG("Initializing sensors");
	board_sensors_init();

	LOG_INF("Done.");
	return 0;
}
```

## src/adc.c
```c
/**
 * adc.c
 *
 * Original code came from zephyr/samples/driver/adc_sequence.
 *
 * Modified slightly to run as a thread and use logging.
 */

#include <stdio.h>
#include <zephyr/kernel.h>
#include <zephyr/sys/printk.h>
#include <zephyr/sys/__assert.h>

#include <zephyr/device.h>
#include <zephyr/devicetree.h>
#include <zephyr/dsp/print_format.h>
#include <zephyr/drivers/adc.h>
#include <zephyr/logging/log.h>

LOG_MODULE_REGISTER(oresat_adc, LOG_LEVEL_DBG);

#define MAX_ADC_READ_TRIES 10

/* ADC node from the devicetree. */
#define ADC_NODE0 DT_ALIAS(adc0)
//#define ADC_NODE1 DT_ALIAS(adc1)

/* Auxiliary macro to obtain channel vref, if available. */
#define CHANNEL_VREF(node_id) DT_PROP_OR(node_id, zephyr_vref_mv, 0)

/* Data of ADC device specified in devicetree. */
static const struct device *adc_devs[] = {
	DEVICE_DT_GET(ADC_NODE0),
//	DEVICE_DT_GET(ADC_NODE1)
};
#define ADC_DEV_COUNT ARRAY_SIZE(adc_devs)

/* Data array of ADC channels for the specified ADC. */
static const struct adc_channel_cfg channel_cfgs_dev_0[] = {
	DT_FOREACH_CHILD_SEP(ADC_NODE0, ADC_CHANNEL_CFG_DT, (,))
};
static const struct adc_channel_cfg channel_cfgs_dev_1[] = {
//	DT_FOREACH_CHILD_SEP(ADC_NODE1, ADC_CHANNEL_CFG_DT, (,))
};
#define CHANNEL_COUNT_DEV_0 ARRAY_SIZE(channel_cfgs_dev_0)
#define CHANNEL_COUNT_DEV_1 ARRAY_SIZE(channel_cfgs_dev_1)
#define CHANNEL_COUNT (CHANNEL_COUNT_DEV_0 + CHANNEL_COUNT_DEV_1)
#define MAX_CHANNEL_DEV_COUNT MAX(CHANNEL_COUNT_DEV_0, CHANNEL_COUNT_DEV_1)
static int adc_channel_counts[ADC_DEV_COUNT] = {
	CHANNEL_COUNT_DEV_0
	//, CHANNEL_COUNT_DEV_1
};
static const struct adc_channel_cfg *adc_channel_cfgs[ADC_DEV_COUNT] = {
	channel_cfgs_dev_0
	//, channel_cfgs_dev_1
};

/* Data array of ADC channel voltage references. */
static uint32_t vrefs_mv_dev_0[] = {
	DT_FOREACH_CHILD_SEP(ADC_NODE0, CHANNEL_VREF, (,))
};
static uint32_t vrefs_mv_dev_1[] = {
//	DT_FOREACH_CHILD_SEP(ADC_NODE1, CHANNEL_VREF, (,))
};
#define ADC_VREF_DEV_0_COUNT ARRAY_SIZE(vrefs_mv_dev_0)
#define ADC_VREF_DEV_1_COUNT ARRAY_SIZE(vrefs_mv_dev_1)
#define ADC_VREF_COUNT (ADC_VREF_DEV_0_COUNT + ADC_VREF_DEV_1_COUNT)
#define MAX_ADC_VREF_COUNT MAX(ADC_VREF_DEV_0_COUNT, ADC_VREF_DEV_1_COUNT)
static int adc_vref_counts[ADC_DEV_COUNT] = {
	ADC_VREF_DEV_0_COUNT
	//, ADC_VREF_DEV_1_COUNT
};
static uint32_t *adc_vref_mvs[ADC_DEV_COUNT] = {
	vrefs_mv_dev_0
	//, vrefs_mv_dev_1
};

struct adc_info; // forward decl

// structure to tie together various Zephyr device structures and adc structures
typedef struct adc_dev_info {
	const struct device *dev;
	uint32_t num_vrefs;
	uint32_t *vrefs_mv;						// pointer to an array of num_vrefs uint32_t mV values
	uint32_t num_ch;						// number used in the adc_channel_cfg array
	const struct adc_channel_cfg *config;	// pointer to num_ch adc_channel_cfg structures
	struct adc_sequence sequence;
#ifdef CONFIG_SEQUENCE_32BITS_REGISTERS
	uint32_t channel_reading[CONFIG_SEQUENCE_SAMPLES][CHANNEL_COUNT];
#else
	uint16_t channel_reading[CONFIG_SEQUENCE_SAMPLES][CHANNEL_COUNT];
#endif
} adc_dev_info;

static adc_dev_info adc_dev_infos[ADC_DEV_COUNT];

// structure to map the user interface to this file to the multiple adc devices and their channels
// this allows the user to specify adc_num 0, 1, or 2, and have them map properly to the interals
typedef struct adc_info {
	adc_dev_info *adcdev;
	uint16_t adc_dev_num;	// number of the ADC device (index into adc_devs[])
	uint16_t ch_num;		// number of the channel on that device
} adc_info;

static adc_info adc_info_map[CHANNEL_COUNT];

// Renumber the outside interface to match reality (adc number 0 and 2 seem swapped somewhere.
// TODO: fix.
static int log_to_phys[CHANNEL_COUNT];

/* Options for the sequence sampling. */
static const struct adc_sequence_options options = {
	.extra_samplings = CONFIG_SEQUENCE_SAMPLES - 1,
	.interval_us = 0,
};

static void init_adc_info(void)
{
	LOG_DBG("Mapping ADC info...");
	LOG_DBG("ADC_DEV_COUNT:%d, CH_CNT_D0:%d, CH_CNT_D1:%d, CH_CNT:%d, MAX_CH_CNT:%d",
			ADC_DEV_COUNT, CHANNEL_COUNT_DEV_0, CHANNEL_COUNT_DEV_1, CHANNEL_COUNT, MAX_CHANNEL_DEV_COUNT);
	LOG_DBG("ADC_VREF_D0:%d, ADC_VREF_D1:%d, ADC_VREF_COUNT:%d",
			ADC_VREF_DEV_0_COUNT, ADC_VREF_DEV_1_COUNT, ADC_VREF_COUNT);

	uint32_t channel_bitmask;
	adc_dev_info *padi = adc_dev_infos;
	int adc_index = 0; // index into adc_info_map
	int i;
	int j;

	for (i = 0; i < ADC_DEV_COUNT; i++) {
		padi->dev = adc_devs[i];
		padi->num_vrefs = adc_vref_counts[i];
		padi->vrefs_mv = adc_vref_mvs[i];
		padi->num_ch = adc_channel_counts[i];
		padi->config = adc_channel_cfgs[i];

		channel_bitmask = 0;
		for (j = 0; j < padi->num_ch; j++) {
			channel_bitmask |= BIT(padi->config[j].channel_id);
			adc_info_map[adc_index].adcdev = padi;
			adc_info_map[adc_index].adc_dev_num = i;
			adc_info_map[adc_index].ch_num = j;
			adc_index++;
		}

		padi->sequence.options = &options;
		padi->sequence.channels = channel_bitmask;
		padi->sequence.buffer = padi->channel_reading;
		padi->sequence.buffer_size = sizeof(padi->channel_reading);
		padi->sequence.resolution = CONFIG_SEQUENCE_RESOLUTION;
		padi->sequence.oversampling = CONFIG_SEQUENCE_OVERSAMPLING;
		padi->sequence.calibrate = 0;

		LOG_DBG("ADC%d (%s): num_vrefs:%u, num_ch:%u, bitmask:0x%08x, res:%u, ave:%u, buf:%p, buf_size:%d",
				i, padi->dev->name, padi->num_vrefs, padi->num_ch, padi->sequence.channels,
				padi->sequence.resolution, padi->sequence.oversampling,
				padi->sequence.buffer, padi->sequence.buffer_size);

		padi++;
	}
	if (adc_index == 3) {
		log_to_phys[0] = 2;
		log_to_phys[1] = 1;
		log_to_phys[2] = 0;
	}
	for (i = 0; i < adc_index; i++) {
		int phys = log_to_phys[i];
		LOG_DBG("adc_info_map[%d]: padi:%p, logidx:%d, physidx:%d, dev:%d(%s)",
				i, adc_info_map[i].adcdev, i, phys,
				adc_info_map[phys].adc_dev_num, adc_info_map[phys].adcdev->dev->name);
	}
}

int get_num_adc_channels(void)
{
	return CHANNEL_COUNT;
}

int init_adc(void)
{
	int err = 0;
	const struct device *adc;
	adc_dev_info *padi;
	const struct adc_channel_cfg *config;
	int i;
	int j;

	init_adc_info();

	LOG_INF("Channels: %d, sequence samples: %d, resolution: %d",
		   CHANNEL_COUNT, CONFIG_SEQUENCE_SAMPLES, CONFIG_SEQUENCE_RESOLUTION);

	for (i = 0U; i < ADC_DEV_COUNT; i++) {
		adc = adc_devs[i];
		if (!device_is_ready(adc)) {
			LOG_ERR("ADC controller device %s not ready", adc->name);
			err = -ENODEV;
			continue;
		}
		padi = &adc_dev_infos[i];
		LOG_INF("Init adc%d: %s, num_ch:%d, num_vref:%d", i, adc->name, padi->num_ch, padi->num_vrefs);
	}

	for (i = 0U; i < ADC_DEV_COUNT; i++) {
		adc = adc_devs[i];
		padi = &adc_dev_infos[i];
		for (j = 0; j < padi->num_ch; j++) {
			LOG_INF("  Init ch:%d", j);
			config = &padi->config[j];
			err = adc_channel_setup(adc, &padi->config[j]);
			if (err < 0) {
				LOG_ERR("Could not setup channel #%d (%d)\n", i, err);
				return 0;
			}
			#ifdef CONFIG_ADC_CONFIGURABLE_INPUTS
			LOG_INF("  Channel: %u, gain: %u, acq time: %u, diff: %u, inp_pos: %u, inp_neg: %u",
					config->channel_id, config->gain, config->acquisition_time,
					config->differential, config->input_positive, config->input_negative);
			#else
			LOG_INF("  Channel: %u, gain: %u, acq time: %u, diff: %u",
					config->channel_id, config->gain, config->acquisition_time,
					config->differential);
			#endif
		}

		for (int k = 0; k < padi->num_vrefs; padi++) {
			if ((padi->vrefs_mv[k] == 0) && (padi->config->reference == ADC_REF_INTERNAL)) {
				padi->vrefs_mv[k] = adc_ref_internal(adc);
			}
			LOG_INF("  Vref: %u, vref_mv: %u", k, padi->vrefs_mv[k]);
		}
	}
	return err;
}

int acquire_adc_readings(void)
{
	int err;
	int i;
	int count = 0;
	adc_dev_info *padi = adc_dev_infos;

	for (i = 0; i < ADC_DEV_COUNT; i++) {
		LOG_DBG("Requesting read from adc%d", i);
		do {
			err = adc_read(padi->dev, &padi->sequence);
			if (err < 0) {
				k_sleep(K_MSEC(100));
				//LOG_ERR("Could not read (%d)", err);
			}
		} while (err && (count++ < MAX_ADC_READ_TRIES));
		if (err) {
			LOG_ERR("Failed to read after %d tries; error %d", count, err);
		}
		padi++;
	}
	return err;
}

int read_adc(unsigned int log_adc_num, int32_t *val_mv)
{
	int err;
	uint32_t raw;
	uint32_t raw_sum = 0;
	int num_samples = 0;
	int32_t val_tmp;
	adc_info *info;
	adc_dev_info *padi;
	int phys_adc_num = log_to_phys[log_adc_num];

	if (log_adc_num >= CHANNEL_COUNT) {
		LOG_ERR("Incorrect adc number set:%u; max is:%u", log_adc_num, CHANNEL_COUNT);
		return -ENODEV;
	}
	info = &adc_info_map[phys_adc_num];
	padi = info->adcdev;

	*val_mv = 0;

	for (size_t sample_index = 0U; sample_index < CONFIG_SEQUENCE_SAMPLES; sample_index++) {
		raw_sum += padi->channel_reading[sample_index][info->ch_num];
		num_samples++;
	}
	raw = raw_sum / num_samples;

	val_tmp = raw;
	err = adc_raw_to_millivolts(padi->vrefs_mv[info->ch_num],
								padi->config->gain,
								CONFIG_SEQUENCE_RESOLUTION, &val_tmp);
	if (err) {
		LOG_ERR("Error converting raw adc to mV: %d", err);
		return -ENODATA;
	}
	*val_mv = val_tmp;

	LOG_DBG("log:%d, phys:%d, dev:%d(%s), ch:%d, mV: %u, raw: %u",
			log_adc_num, phys_adc_num,
			info->adc_dev_num, padi->dev->name, info->ch_num,
			*val_mv, raw);
	return 0;
}
```

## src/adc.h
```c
#if !defined(_ADC_H_)
#define _ADC_H_

int get_num_adc_channels(void);

int init_adc(void);

int acquire_adc_readings(void);

int read_adc(unsigned int adc_num, int32_t *val_mv);

#endif
```

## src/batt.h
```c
#ifndef _BATT_H_
#define _BATT_H_

// Dump complete battery history
#if IS_ENABLED(CONFIG_VERBOSE_DEBUG)
#define VERBOSE_DEBUG 1
#else
#define VERBOSE_DEBUG 0
#endif

#if CONFIG_APP_BATTERY_LOG_LEVEL >= LOG_LEVEL_INF
#define DEBUG_PRINT 1
#else
#define DEBUG_PRINT 0
#endif

typedef struct {
	bool is_data_valid;

	uint32_t batt_mV;
	uint16_t v_cell_max_volt_mV;
	uint16_t v_cell_min_volt_mV;
	uint16_t v_cell_mV;
	uint16_t v_cell_1_mV;
	uint16_t v_cell_2_mV;
	uint16_t v_cell_avg_mV;

	int16_t current_mA;
	int16_t avg_current_mA;
	int16_t max_current_mA;
	int16_t min_current_mA;

	uint32_t full_capacity_mAh;
	uint32_t reported_capacity_mAh;

	// the next 2 are not reported over CAN
	uint32_t available_capacity_mAh;
	uint32_t mix_capacity_mAh;

	uint32_t time_to_empty_seconds;
	uint32_t time_to_full_seconds;

	uint16_t cycles; // count

	uint8_t reported_state_of_charge; //Percent

	// the next 2 are not reported over CAN
	uint8_t available_state_of_charge; //Percent
	uint8_t present_state_of_charge; //Percent

	int16_t int_temp_C;
	int16_t avg_int_temp_C;
	int8_t temp_max_C;
	int8_t temp_min_C;

	// the next 4 are not reported over CAN
	int16_t temp_1_C;
	int16_t temp_2_C;
	int16_t avg_temp_1_C;
	int16_t avg_temp_2_C;
} batt_pack_data_t;

// All state for a pack is contained in this structure.
typedef struct pack {
	bool init;
	bool updated;
	bool enabled; // only enabled if can talk to max17205; if false, skip this pack
	const struct device *dev;
	batt_pack_data_t data;
	const struct gpio_dt_spec heater_on;
	const struct gpio_dt_spec line_dchg_dis;
	const struct gpio_dt_spec line_chg_dis;
	const struct gpio_dt_spec line_dchg_stat;
	const struct gpio_dt_spec line_chg_stat;
	const struct gpio_dt_spec line_alert;
	uint8_t pack_number;
	char *name;
} pack_t;

// Full battery detection thresholds

#define BATT_FULL_THRESHOLD_MV 8000
#define EOC_THRESHOLD_MA 50
#define CELL_CAPACITY_MAH 2600
#define CELL_CAPACITY_MAH_RAW 0x1450

#define MAX_HIST_STORE_RETRIES 4

#define NUM_CELLS 2 /* Number of cells per pack */
#define NUM_PACKS 2 /* Number of packs */

// number of bytes of data to store in history;
// must match size of private pack_hist_data_t in batt.c
#define HIST_DATA_SIZE (4 * NUM_PACKS)

#define ARRAY_LEN(x) (sizeof(x)/sizeof(x[0]))

#define BATT_EVENT_UPDATED 0x0001

typedef enum {
	HW_REV_4_0_0 = 0,	// board revision 4.0.0
} board_hw_rev_t;

/**
 * Get access to pack_t structure for specified pack number.
 *
 * @param pack - the pack number to retrieve.
 *
 * @return pack_t* - pointer to pack structure if pack is in the
 *  	   range of 0 to (NUM_PACKS - 1), otherwise NULL.
 */
pack_t *get_pack(unsigned int pack);

/**
 * Wait for battery data updated event. This can be used by
 * one or more threads; all that are waiting will be woken at
 * the same time, when BATT_EVENT_UPDATED is posted.
 *
 * @param reset   - bool set true to clear already-pending
 *  			  event, otherwise leave as-is.
 * @param timeout - timeout; use K_NO_WAIT or K_FOREVER else
 *  			  a K_MSEC() or other macro for specific time
 *  			  duration.
 * #return uint32_t - 0 if timed-out, else event value that
 * 				  occurred.
 */
uint32_t batt_event_wait(bool reset, k_timeout_t timeout);

/**
 * Query fault output from TCAN337.
 *
 * @return bool - true if a fault, false otherwise. False for
 *  	   STM32 version of the board, since it does not have
 *  	   the TCAN337.
 */
bool get_can_fault(void);

/**
 * Tell CAN hardware to stop transmitting.
 *
 * @return int - negative value on error, 0 otherwise.
 */
int set_can_silent(void);

/**
 * Tell CAN hardware to resume transmitting.
 *
 * @return int - negative value on error, 0 otherwise.
 */
int set_can_normal(void);

#endif
```

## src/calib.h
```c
#ifndef _CALIB_H_
#define _CALIB_H_

#ifdef __cplusplus
extern "C" {
#endif

// DEBUG_PRINT is required for ENABLE_NV_MEMORY_UPDATE_CODE to do anything
#if DEBUG_PRINT && CONFIG_ENABLE_NV_MEMORY_UPDATE_CODE
#define NV_WRITE_PROMPT_ENABLED 1
#else
#define NV_WRITE_PROMPT_ENABLED 0
#endif

// DEBUG_PRINT is required for ENABLE_LEARN_COMPLETE to do anything
#if DEBUG_PRINT && CONFIG_ENABLE_LEARN_COMPLETE
#define LEARN_COMPLETE_ENABLED 1
#else
#define LEARN_COMPLETE_ENABLED 0
#endif

#ifdef __cplusplus
}
#endif

#endif /* _CALIB_H_ */
```

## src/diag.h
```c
#pragma once
#ifndef _DIAG_H_
#define _DIAG_H_

// display configuration during the build process
// this is noisy, so turn off by default
#if 0
#if DEBUG_PRINT
#pragma message("Debug messages enabled")
#else
#pragma message("Debug messages disabled")
#endif

#if VERBOSE_DEBUG
#pragma message("Verbose debug messages enabled")
#else
#pragma message("Verbose debug messages disabled")
#endif

// If batt_nv_programing_cfg registers do not match current, rewrite the RAM shadow then prompt to write to NV.
#if CONFIG_ENABLE_NV_MEMORY_UPDATE_CODE
#pragma message("NV memory update code enabled")
#else
#pragma message("NV memory update code disabled")
#endif

// If state of charge is known to be full, set LS bits D6-D0 of LearnCfg register to 0b111
// and write MixCap and RepCap registers to 2600.
#if CONFIG_ENABLE_LEARN_COMPLETE
#pragma message("Enable learn complete enabled")
#else
#pragma message("Enable learn complete disabled")
#endif

// Recommend setting ENABLE_HEADERS to 0 for battery board v2.1. Otherwise, brownouts can occur, causing
// the C3 to reboot the battery board.
#if CONFIG_ENABLE_HEATERS
#pragma message("Heaters enabled")
#else
#pragma message("Heaters disabled")
#endif
#endif

#endif // _DIAG_H_
```
